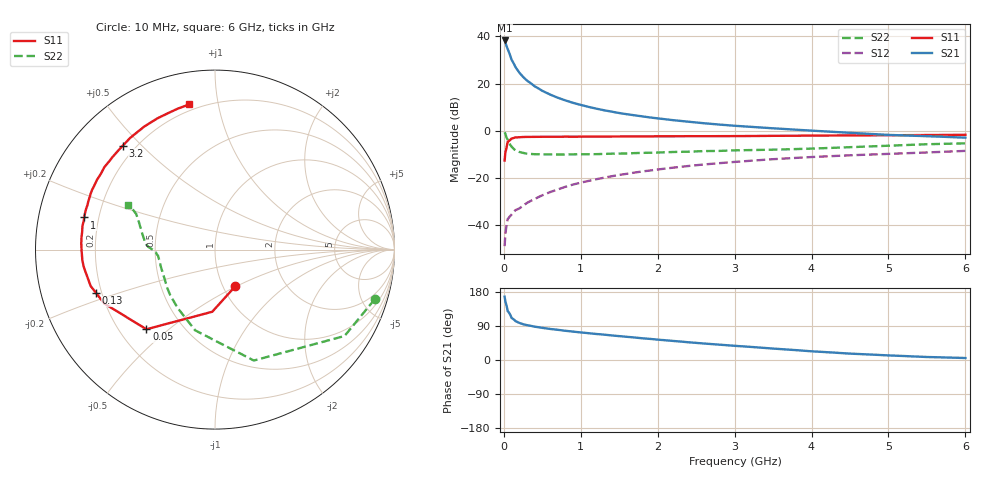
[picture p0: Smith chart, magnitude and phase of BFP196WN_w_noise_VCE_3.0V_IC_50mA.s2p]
! Infineon Technologies  Discrete & RF Semiconductors
! BFP196WN
! VCE =  3.0 V,  IC =  50 mA
! Common Emitter S-Parameters:  Jan 2017
# GHz  S  MA  R  50
!  f  S11  S21  S12  S22
! GHz  MAG  ANG  MAG  ANG  MAG  ANG  MAG  ANG
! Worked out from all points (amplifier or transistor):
!   77 points, 10 MHz to 6 GHz, reference 50 ohm
!   highest |S21| = 38.3 dB at 10 MHz (marker M1)
!   |S21| within 3 dB of that: start of sweep to 42.33 MHz
!   unconditionally stable (mu >= 1): 601.2 MHz to 2.749 GHz
!   at 130 MHz: K = 0.56, MSG = 31.4 dB, |S12| = -34.3 dB
!   at 2.2 GHz: K = 1.02, MAG = 9.1 dB, |S12| = -15.6 dB
!   at 6 GHz: K = 0.92, MSG = 2.8 dB, |S12| = -8.5 dB
!   lowest NFmin = 1.27 dB at 450 MHz
!   S11 on the Smith chart (normalised r, x): 10 MHz: 1.14, -0.49; 50 MHz: 0.31, -0.42; 130 MHz: 0.18, -0.17; 1 GHz: 0.14, +0.12; 3.2 GHz: 0.15, +0.44; 6 GHz: 0.17, +0.83
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0.01  0.2335 -61.0  81.77 167.1  0.0036 77.4  0.9317 -17.3
0.02  0.3465 -92.5  74.23 154.2  0.0065 68.7  0.8675 -33.7
0.05  0.5856 -130.7  53.78 129.0  0.0135 52.4  0.6548 -70.7
0.1  0.6865 -154.1  32.13 111.0  0.0168 47.2  0.4632 -103.8
0.13  0.7053 -159.9  26.3 106.8  0.0192 48.2  0.4116 -114.2
0.15  0.7217 -163.6  22.52 102.8  0.0208 48.7  0.3864 -122.5
0.2  0.7296 -169.1  17.14 98.0  0.0226 52.8  0.3565 -134.3
0.25  0.7379 -172.6  13.83 94.5  0.0259 56.7  0.3401 -141.9
0.3  0.7415 -175.5  11.59 92.0  0.0296 58.1  0.3274 -148.1
0.4  0.7433 -179.6  8.755 87.9  0.0358 62.6  0.3192 -155.3
0.5  0.746 177.2  7.014 84.8  0.043 65.1  0.3168 -160.5
0.6  0.7469 174.6  5.864 82.0  0.0502 66.7  0.3161 -164.3
0.8  0.7504 169.9  4.397 77.1  0.0651 68.5  0.3142 -168.6
1  0.7502 166.2  3.526 72.8  0.0797 68.5  0.3181 -172.1
1.1  0.752 164.4  3.209 70.8  0.0867 68.4  0.3187 -173.2
1.5  0.7568 157.5  2.377 63.0  0.1163 66.5  0.3286 -177.0
2.1  0.7633 148.0  1.753 52.1  0.1584 62.7  0.3507 179.7
3.1  0.7725 132.9  1.246 36.1  0.2251 54.4  0.3875 174.9
3.2  0.774 131.5  1.215 34.7  0.2313 53.5  0.39 174.1
4.1  0.7916 118.7  0.986 21.8  0.2827 45.7  0.4247 165.3
5.1  0.8058 107.8  0.808 11.3  0.3286 38.1  0.4896 155.2
6  0.8219 100.0  0.715 5.2  0.3751 32.1  0.5417 152.9
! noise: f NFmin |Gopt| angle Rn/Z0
0.45  1.27  0.53  -177  0.05
0.9  1.39  0.56  -171  0.05
1.9  2.33  0.69  -148  0.16
2.4  3.05  0.7  -140  0.28
